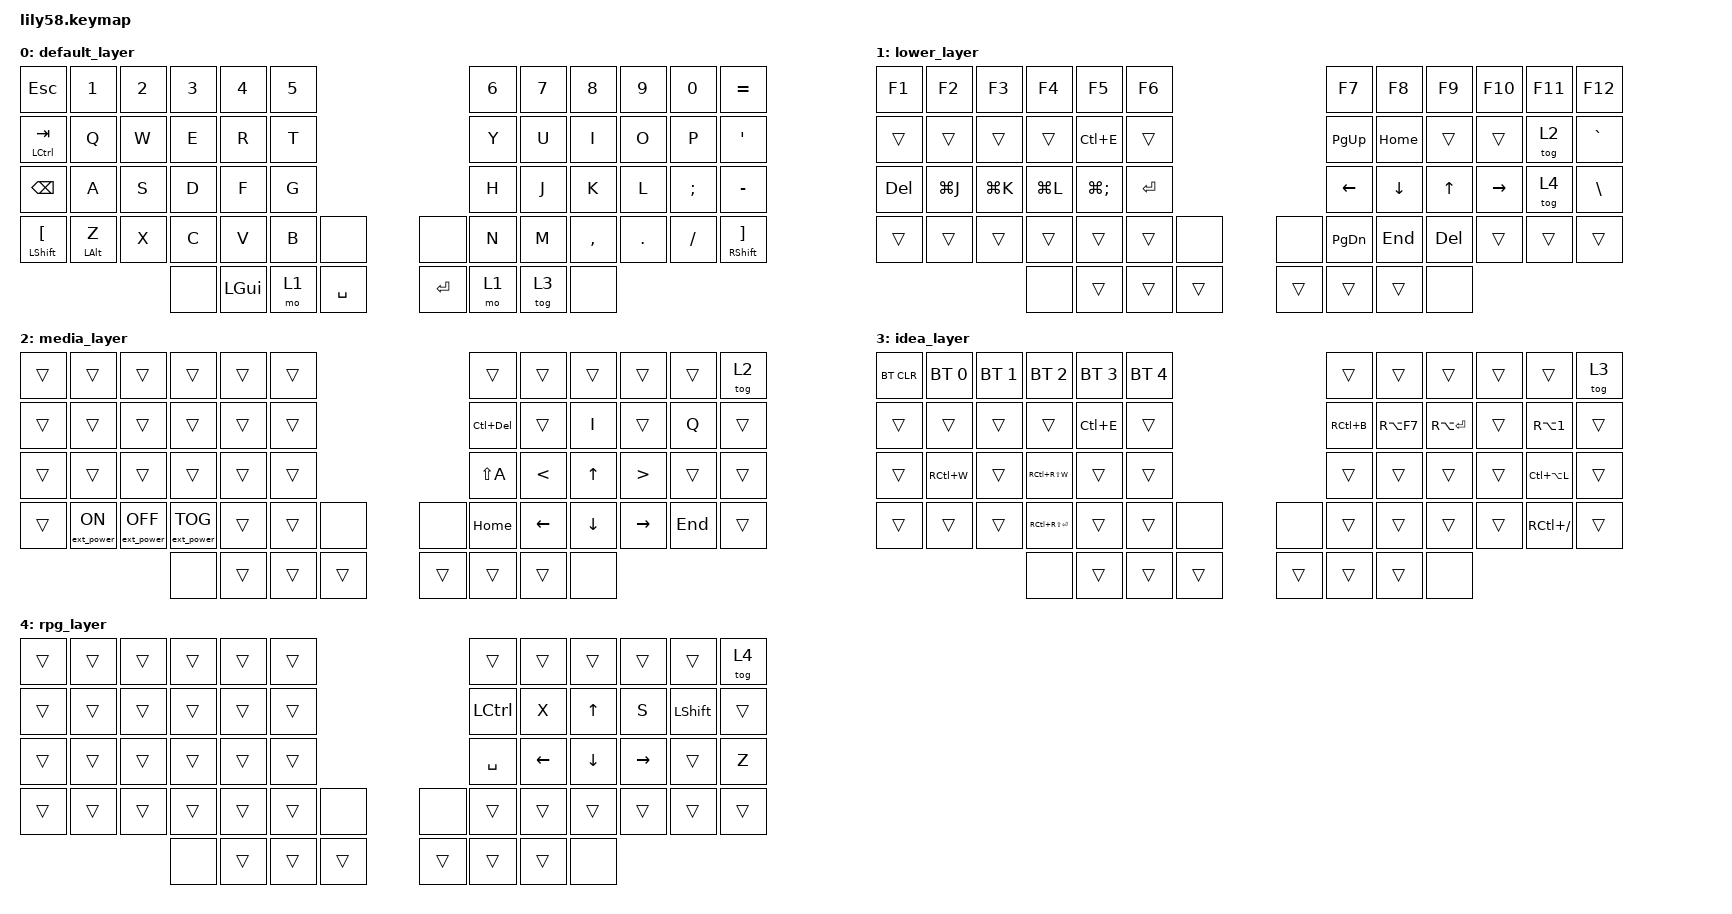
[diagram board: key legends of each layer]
/*
 * Copyright (c) 2020 The ZMK Contributors
 *
 * SPDX-License-Identifier: MIT
 */

#include <behaviors.dtsi>
#include <dt-bindings/zmk/keys.h>
#include <dt-bindings/zmk/bt.h>
#include <dt-bindings/zmk/ext_power.h>

&mt {
    tapping-term-ms = <140>;
};

/ {
	keymap {
		compatible = "zmk,keymap";

		default_layer {
			bindings = <
&kp ESC   		 &kp N1     &kp N2  &kp N3  &kp N4   &kp N5                     &kp N6   &kp N7   &kp N8    &kp N9  &kp N0   &kp EQUAL
&mt LCTRL TAB  &kp Q      &kp W   &kp E   &kp R    &kp T                      &kp Y    &kp U    &kp I     &kp O   &kp P    &kp SQT
&kp BSPC   		 &kp A      &kp S   &kp D   &kp F    &kp G                      &kp H    &kp J    &kp K     &kp L   &kp SEMI &kp MINUS
&mt LSHFT LBKT &mt LALT Z &kp X   &kp C   &kp V    &kp B  &none      &none    &kp N    &kp M    &kp COMMA &kp DOT &kp FSLH &mt RSHFT RBKT
          										    &none   &kp LGUI &mo 1  &kp SPACE  &kp RET  &mo 1    &tog 3    &none
			>;
		};

		lower_layer {
			bindings = <
&kp F1   &kp F2 	  &kp F3     &kp F4 		&kp F5 		  	&kp F6                 &kp F7 	  &kp F8 		&kp F9   &kp F10   &kp F11 	&kp F12
&trans   &trans 	  &trans     &trans 		&kp LC(E) 	  &trans                 &kp PG_UP  &kp HOME  &trans   &trans 	 &tog 2   &kp GRAVE
&kp DEL  &kp LG(J)  &kp LG(K)  &kp LG(L)  &kp LG(SEMI)  &kp RET                &kp LEFT 	&kp DOWN  &kp UP	&kp RIGHT  &tog 4   &kp BSLH
&trans   &trans 	  &trans     &trans     &trans 		  	&trans  &none  &none   &kp PG_DN  &kp END   &kp DEL  &trans  	 &trans   &trans
                     		       &none 			&trans 			  &trans  &trans &trans  &trans 	  &trans 		&none
			>;
		};

			media_layer {
			bindings = <
&trans	&trans 				   &trans   		     &trans						 &trans				 &trans                      &trans 			&trans     &trans    &trans     &trans   &tog 2
&trans 	&trans 				   &trans   		     &trans						 &trans				 &trans                    	 &kp LC(DEL)  &trans     &kp I     &trans     &kp Q    &trans
&trans 	&trans 				   &trans 					 &trans 					 &trans 			 &trans                    	 &kp LS(A)    &kp LT	   &kp UP  	 &kp GT     &trans   &trans
&trans	&ext_power EP_ON &ext_power EP_OFF &ext_power EP_TOG &trans 			 &trans  	&none   	 &none   &kp HOME		  &kp LEFT 	 &kp DOWN  &kp RIGHT  &kp END  &trans
                             									 &none    				 &trans        &trans   &trans     &trans  &trans    		&trans     &none
			>;
		};

		idea_layer {
			bindings = <
&bt BT_CLR 	&bt BT_SEL 0   &bt BT_SEL 1   &bt BT_SEL 2     &bt BT_SEL 3  &bt BT_SEL 4                 &trans 	 &trans 		&trans 			&trans &trans 			 &tog 3
&trans 			&trans 	 			 &trans 				&trans 				   &kp LC(E)     &trans            		  			&kp RC(B) &kp RA(F7) &kp RA(RET) &trans &kp RA(N1) 	 &trans
&trans 			&kp RC(W)      &trans 				&kp RC(RS(W)) 	 &trans 			 &trans            					  &trans 	 &trans 		&trans 			&trans &kp LC(LA(L)) &trans
&trans 			&trans 	       &trans 				&kp RC(RS(RET))  &trans 			 &trans  &none 				&none   &trans 	 &trans 		&trans 			&trans &kp RC(FSLH)  &trans
                                          &none 					 &trans 			 &trans  &trans 			&trans  &trans 	 &trans 		&none
			>;
		};
		rpg_layer {
			bindings = <
&trans	&trans 				   &trans   		     &trans						 &trans				 &trans                      &trans 	  &trans     &trans    &trans     &trans     &tog 4
&trans 	&trans 				   &trans   		     &trans						 &trans				 &trans                    	 &kp LCTRL 	&kp X      &kp UP    &kp S      &kp LSHFT  &trans
&trans 	&trans 				   &trans 					 &trans 					 &trans 			 &trans                    	 &kp SPACE  &kp LEFT 	 &kp DOWN  &kp RIGHT  &trans     &kp Z
&trans 	&trans 				   &trans 					 &trans 					 &trans 			 &trans  	&none   	 &none   &trans 	  &trans 	   &trans 	 &trans 		&trans 		 &trans
                             							 &none    				 &trans        &trans   &trans     &trans  &trans     &trans     &none
			>;
		};

	};
};
